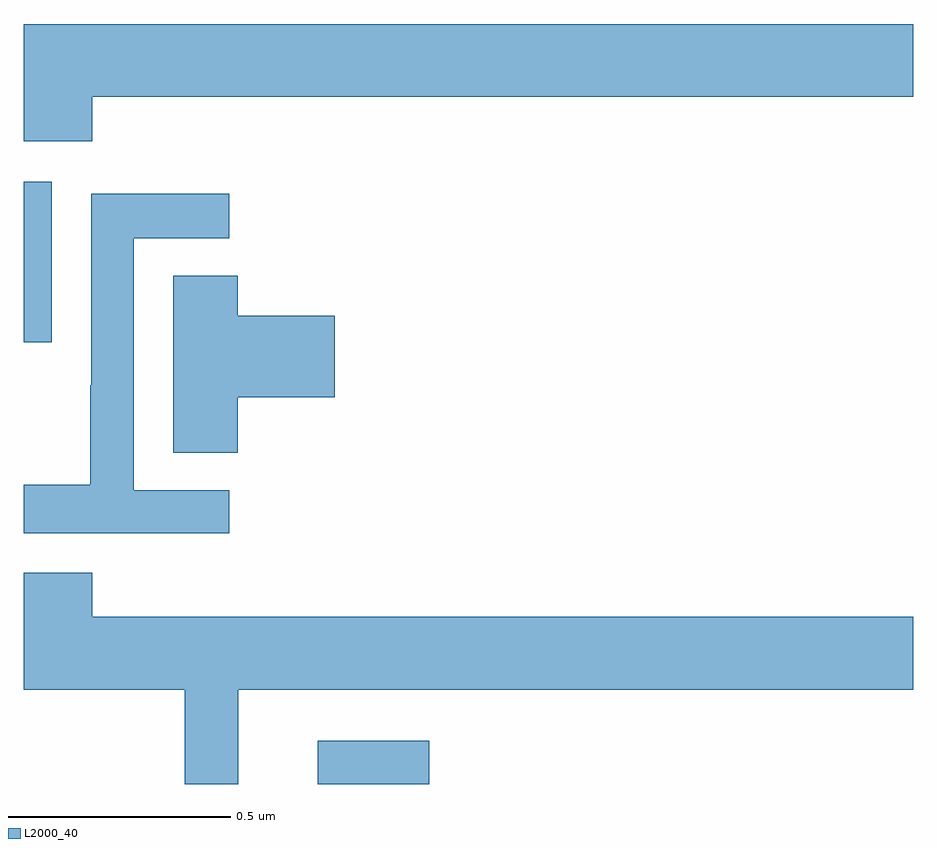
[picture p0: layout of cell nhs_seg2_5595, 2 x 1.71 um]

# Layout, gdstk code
import gdstk
lib = gdstk.Library(unit=1e-6, precision=1e-09)
def R(c, l, rs):  # rectangles x0, y0, x1, y1
    for r in rs: c.add(gdstk.rectangle(r[:2], r[2:], *l))
def P(c, l, *ps):  # polygons
    for p in ps: c.add(gdstk.Polygon(p, *l))
L2000_40 = (2000, 40)

nhs_seg2_5595 = lib.new_cell('nhs_seg2_5595')
R(nhs_seg2_5595, L2000_40, [(181.661,604.8,181.912,604.897), (181,605.793,181.063,606.154)])
P(nhs_seg2_5595, L2000_40, [(181.154,606.344),(183,606.344),(183,606.508),(181,606.508),(181,606.245),(181.154,606.245)],
  [(181.462,605.46),(181.248,605.46),(181.248,606.027),(181.462,606.027),(181.462,606.126),(181.152,606.126),(181.152,605.696),(181.15,605.696),(181.15,605.473),(181,605.473),(181,605.364),(181.462,605.364)],
  [(181.481,605.669),(181.699,605.669),(181.699,605.852),(181.481,605.852),(181.481,605.942),(181.337,605.942),(181.337,605.545),(181.481,605.545)],
  [(181.483,605.012),(183,605.012),(183,605.176),(181.154,605.176),(181.154,605.275),(181.001,605.275),(181.001,605.176),(181,605.176),(181,605.012),(181.362,605.012),(181.362,604.8),(181.483,604.8)])

lib.write_gds('nhs_seg2_5595.gds')
